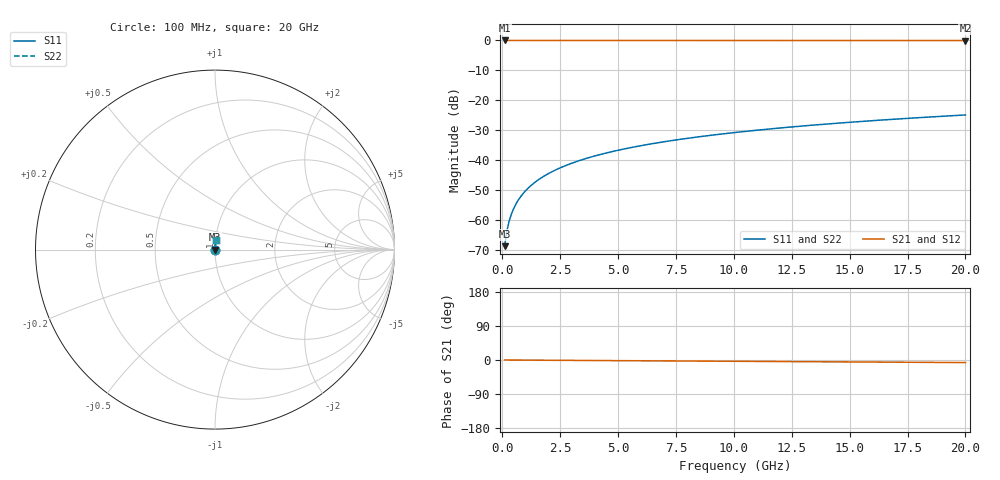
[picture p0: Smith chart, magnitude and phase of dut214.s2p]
! Touchstone file exported from HFSS 2026.1.0
!  File:  C:/ffzhzh/LocalFiles/Ansys_Project_Files/temp_train_TSV_214_1782992025_6248.aedt
!  Generated:  07:35:21 PM Jul  2, 2026
!  Design:  TSV
!  Project:  temp_train_TSV_214_1782992025_6248
! Variables:
!  h_bsmrdl = 2um
!  h_ox = 20um
!  h_rdl = 5um
!  h_sub = 51.77um
!  h_tmrdl = 5um
!  h_tsv = 51.77um
!  h_via = 3um
!  l_bsmrdl = 300um
!  l_sub = 413.04um
!  l_tmrdl = 200um
!  m_sub = 200um
!  pitch = 52.37um
!  r_tsv = 6.52um
!  s_tmrdl = 10um
!  w_bsmrdl = 18um
!  w_sub = 500um
!  w_tmrdl = 12um
!  x_tsv_center1 = 206um
!  x_tsv_center2 = 524um
!  x_tsv_center3 = 736um
!  x_tsv_center4 = 1054um
!  x_tsv_center5 = 1266um
!  x_tsv_center6 = 1584um
# GHz S MA R 50.000000
! Terminal data exported
! Port[1] = TSV1_1_T1
! Port[2] = TSV1_1_T2
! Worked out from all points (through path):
!   200 points, 100 MHz to 20 GHz, reference 50 ohm
!   highest |S21| = 0.00 dB at 100 MHz (marker M1); lowest = 0.0 dB at 20 GHz (marker M2)
!   lowest |S11| = -68.9 dB at 100 MHz (marker M3), VSWR 1.00, Z = 50 + j0.0316 ohm
!   |S11| at or under -10 dB: start of sweep to end of sweep
!   |S22| runs from -68.9 to -24.9 dB; largest |S21 - S12| = 3e-15
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0.1  0.0003609 61.0  0.9998 -0.0  0.9998 -0.0  0.0003609 61.0
! Gamma 0 0 0 0
! Port Impedance 50 0 50 0
0.2  0.0006557 73.7  0.9998 -0.1  0.9998 -0.1  0.0006557 73.7
0.3  0.0009602 78.2  0.9998 -0.1  0.9998 -0.1  0.0009602 78.2
0.4  0.001264 80.3  0.9998 -0.1  0.9998 -0.1  0.001264 80.3
0.5  0.001566 81.5  0.9998 -0.2  0.9998 -0.2  0.001566 81.5
0.6  0.001864 82.4  0.9998 -0.2  0.9998 -0.2  0.001864 82.4
0.7  0.00216 82.9  0.9997 -0.2  0.9997 -0.2  0.00216 82.9
0.8  0.002455 83.4  0.9997 -0.3  0.9997 -0.3  0.002455 83.4
1  0.003039 84.1  0.9997 -0.4  0.9997 -0.4  0.003039 84.1
1.4  0.004199 84.9  0.9997 -0.5  0.9997 -0.5  0.004199 84.9
1.7  0.005068 85.3  0.9996 -0.6  0.9996 -0.6  0.005068 85.3
2  0.005935 85.6  0.9996 -0.7  0.9996 -0.7  0.005935 85.6
2.7  0.007956 85.9  0.9995 -0.9  0.9995 -0.9  0.007956 85.9
3.5  0.01026 86.0  0.9995 -1.2  0.9995 -1.2  0.01026 86.0
4.2  0.01226 86.0  0.9994 -1.4  0.9994 -1.4  0.01226 86.0
5  0.01454 85.9  0.9993 -1.7  0.9993 -1.7  0.01454 85.9
6.8  0.01965 85.6  0.9991 -2.3  0.9991 -2.3  0.01965 85.6
8.3  0.02389 85.3  0.9989 -2.8  0.9989 -2.8  0.02389 85.3
10.1  0.02896 84.9  0.9987 -3.4  0.9987 -3.4  0.02896 84.9
13.4  0.03824 84.0  0.9983 -4.6  0.9983 -4.6  0.03824 84.0
16.7  0.04747 83.0  0.9978 -5.7  0.9978 -5.7  0.04747 83.0
20  0.05664 82.0  0.9972 -6.8  0.9972 -6.8  0.05664 82.0
